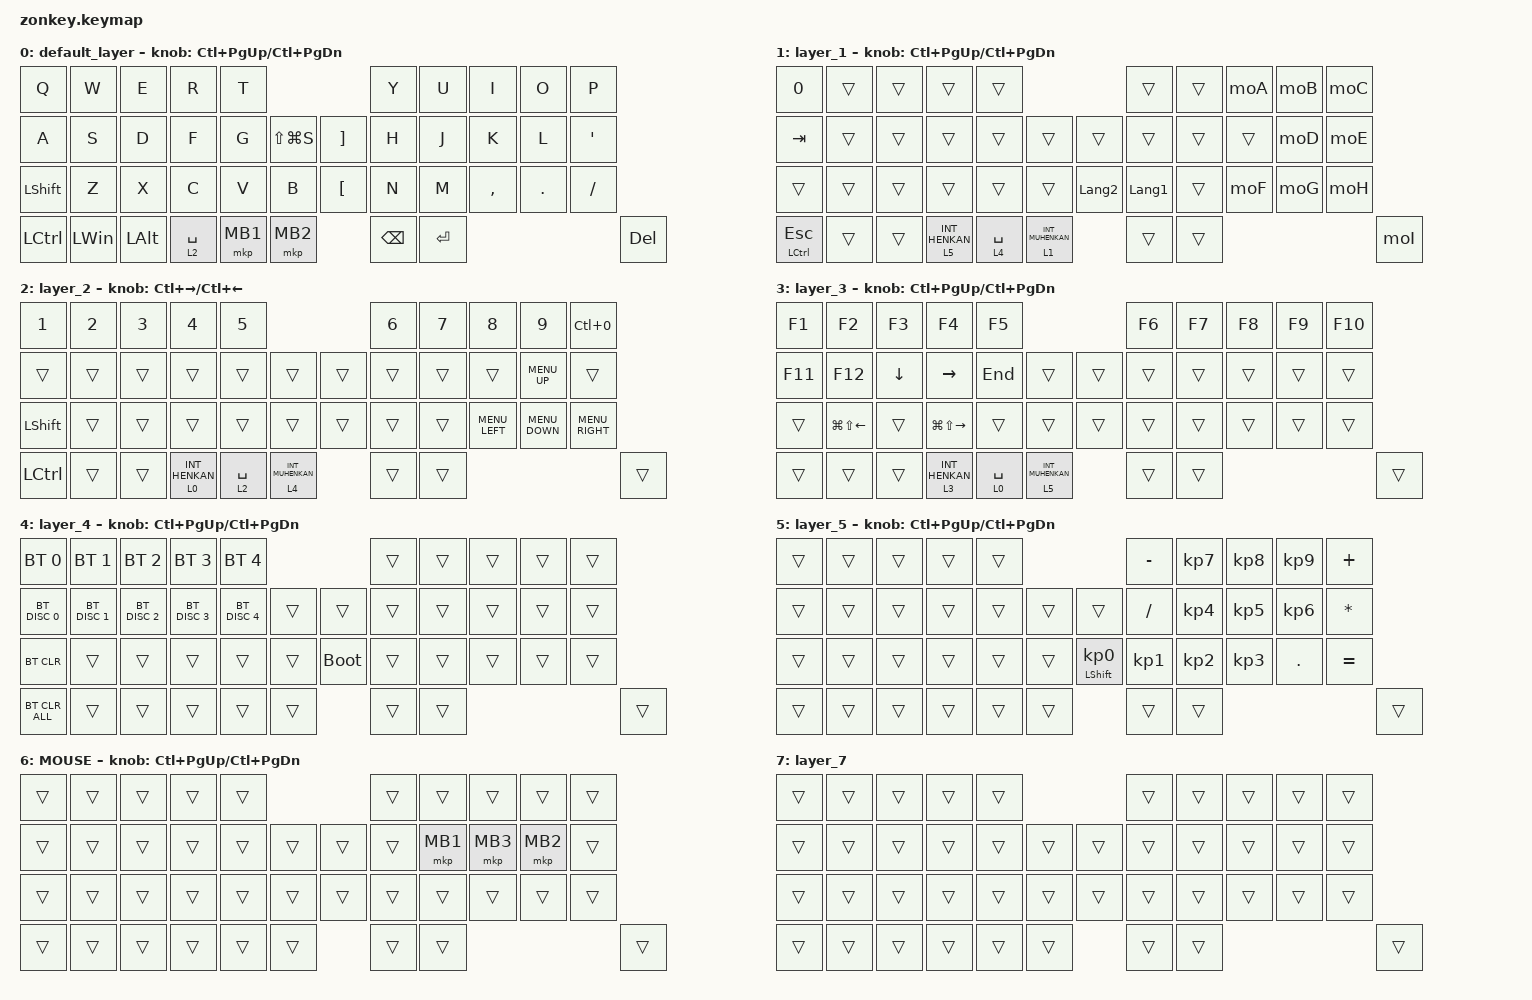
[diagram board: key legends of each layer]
#include <physical_layouts.dtsi>
#include <behaviors.dtsi>
#include <dt-bindings/zmk/bt.h>
#include <dt-bindings/zmk/keys.h>
#include <dt-bindings/zmk/pointing.h>

#define ZMK_POINTING_DEFAULT_SCRL_VAL 100
#define DFb 0
#define JIS 1
#define BT 4
#define MOUSE 6
#define JP_DQUOTE       AT                // "
#define JP_AMPERSAND    CARET             // &
#define JP_QUOTE        AMPERSAND         // '
#define JP_EQUAL        UNDER             // =
#define JP_CARET        EQUAL             // ^
#define JP_YEN          0x89              // ¥
#define JP_PLUS         COLON             // +
#define JP_TILDE        PLUS              // ~
#define JP_PIPE         LS(0x89)          // |
#define JP_AT           LEFT_BRACKET      // @
#define JP_COLON        SINGLE_QUOTE      // :
#define JP_ASTERISK     DOUBLE_QUOTES     // *
#define JP_BACKQUOTE    LEFT_BRACE        // `
#define JP_UNDERSCORE   LS(0x87)          // _
#define JP_LBRACKET     RIGHT_BRACKET     // [
#define JP_RBRACKET     BACKSLASH         // ]
#define JP_LPAREN       ASTERISK          // (
#define JP_RPAREN       LEFT_PARENTHESIS  // )
#define JP_LBRACE       RIGHT_BRACE       // {
#define JP_RBRACE       PIPE              // }
#define JP_KANA         LANGUAGE_1        // かな
#define JP_EISU         LANGUAGE_2        // 英数
#define JP_HANZEN       GRAVE             // 半角/全角
#define JP_BSLH  INT1         // (backslash)

&mt {
    flavor = "balanced";
    quick-tap-ms = <0>;
};

/ {
    combos { compatible = "zmk,combos"; };

    macros {
        to_layer_0: to_layer_0 {
            compatible = "zmk,behavior-macro-one-param";
            #binding-cells = <1>;
            bindings = <&to 0 &macro_param_1to1 &kp MACRO_PLACEHOLDER>;
            label = "TO_LAYER_0";
        };
    };

    behaviors {
        lt_to_layer_0: lt_to_layer_0 {
            compatible = "zmk,behavior-hold-tap";
            label = "LAYER_TAP_TO_0";
            bindings = <&mo>, <&to_layer_0>;

            #binding-cells = <2>;
            tapping-term-ms = <200>;
        };

        mo2: mo2 {
            compatible = "zmk,behavior-mod-morph";
            #binding-cells = <0>;
            bindings = <&kp N2>, <&kp AT>;

            mods = <(MOD_LSFT|MOD_RSFT)>;
        };

        mo6: mo6 {
            compatible = "zmk,behavior-mod-morph";
            #binding-cells = <0>;
            bindings = <&kp N6>, <&kp CARET>;

            mods = <(MOD_LSFT|MOD_RSFT)>;
        };

        mo7: mo7 {
            compatible = "zmk,behavior-mod-morph";
            #binding-cells = <0>;
            bindings = <&kp N7>, <&kp AMPS>;

            mods = <(MOD_LSFT|MOD_RSFT)>;
        };

        mo8: mo8 {
            compatible = "zmk,behavior-mod-morph";
            #binding-cells = <0>;
            bindings = <&kp N8>, <&kp ASTRK>;

            mods = <(MOD_LSFT|MOD_RSFT)>;
        };

        mo9: mo9 {
            compatible = "zmk,behavior-mod-morph";
            #binding-cells = <0>;
            bindings = <&kp N9>, <&kp LPAR>;

            mods = <(MOD_LSFT|MOD_RSFT)>;
        };

        mo0: mo0 {
            compatible = "zmk,behavior-mod-morph";
            #binding-cells = <0>;
            bindings = <&kp N0>, <&kp LS(N9)>;

            mods = <(MOD_LSFT|MOD_RSFT)>;
        };

        moA: moA {
            compatible = "zmk,behavior-mod-morph";
            #binding-cells = <0>;
            bindings = <&kp MINUS>, <&kp UNDERSCORE>;

            mods = <(MOD_LSFT|MOD_RSFT)>;
        };

        moB: moB {
            compatible = "zmk,behavior-mod-morph";
            #binding-cells = <0>;
            bindings = <&kp EQUAL>, <&kp PLUS>;

            mods = <(MOD_LSFT|MOD_RSFT)>;
        };

        moC: moC {
            compatible = "zmk,behavior-mod-morph";
            #binding-cells = <0>;
            bindings = <&kp INT3>, <&kp JP_PIPE>;

            mods = <(MOD_LSFT|MOD_RSFT)>;
        };

        moD: moD {
            compatible = "zmk,behavior-mod-morph";
            #binding-cells = <0>;
            bindings = <&kp LBKT>, <&kp LBRC>;

            mods = <(MOD_LSFT|MOD_RSFT)>;
        };

        moE: moE {
            compatible = "zmk,behavior-mod-morph";
            #binding-cells = <0>;
            bindings = <&kp RBKT>, <&kp RBRC>;

            mods = <(MOD_LSFT|MOD_RSFT)>;
        };

        moF: moF {
            compatible = "zmk,behavior-mod-morph";
            #binding-cells = <0>;
            bindings = <&kp SEMI>, <&kp KP_PLUS>;

            mods = <(MOD_LSFT|MOD_RSFT)>;
        };

        moG: moG {
            compatible = "zmk,behavior-mod-morph";
            #binding-cells = <0>;
            bindings = <&kp APOSTROPHE>, <&kp DQT>;

            mods = <(MOD_LSFT|MOD_RSFT)>;
        };

        moH: moH {
            compatible = "zmk,behavior-mod-morph";
            #binding-cells = <0>;
            bindings = <&kp BACKSLASH>, <&kp TILDE2>;

            mods = <(MOD_LSFT|MOD_RSFT)>;
        };

        moI: moI {
            compatible = "zmk,behavior-mod-morph";
            #binding-cells = <0>;
            bindings = <&kp JP_BSLH>, <&kp JP_UNDERSCORE>;

            mods = <(MOD_LSFT|MOD_RSFT)>;
        };

        scroll_up_down: behavior_sensor_rotate_mouse_wheel_up_down {
            compatible = "zmk,behavior-sensor-rotate";
            #sensor-binding-cells = <0>;
            bindings = <&msc SCRL_UP>, <&msc SCRL_DOWN>;

            tap-ms = <20>;
        };
    };

    keymap {
        compatible = "zmk,keymap";

        default_layer {
            bindings = <
&kp Q           &kp W         &kp E         &kp R        &kp T                                         &kp Y          &kp U      &kp I      &kp O    &kp P
&kp A           &kp S         &kp D         &kp F        &kp G     &kp LS(LG(S))    &kp RIGHT_BRACKET  &kp H          &kp J      &kp K      &kp L    &kp SQT
&kp LEFT_SHIFT  &kp Z         &kp X         &kp C        &kp V     &kp B            &kp LEFT_BRACKET   &kp N          &kp M      &kp COMMA  &kp DOT  &kp SLASH
&kp LCTRL       &kp LEFT_WIN  &kp LEFT_ALT  &lt 2 SPACE  &mkp MB1  &mkp MB2                            &kp BACKSPACE  &kp ENTER                                 &kp DEL
            >;

            sensor-bindings = <&inc_dec_kp LC(PAGE_UP) LC(PAGE_DOWN)>;
        };

        layer_1 {
            bindings = <
&kp NUMBER_0  &trans  &trans  &trans            &trans                                          &trans       &trans  &moA    &moB  &moC
&kp TAB       &trans  &trans  &trans            &trans       &trans                &trans       &trans       &trans  &trans  &moD  &moE
&trans        &trans  &trans  &trans            &trans       &trans                &kp JP_EISU  &kp JP_KANA  &trans  &moF    &moG  &moH
&mt LCTL ESC  &trans  &trans  &lt 5 INT_HENKAN  &lt 4 SPACE  &lt 1 INT_MUHENKAN                 &trans       &trans                      &moI
            >;

            sensor-bindings = <&inc_dec_kp LC(PAGE_UP) LC(PAGE_DOWN)>;
        };

        layer_2 {
            bindings = <
&kp N1            &kp NUMBER_2  &kp N3  &kp N4            &kp N5                                     &kp N6  &kp N7  &kp N8           &kp N9           &kp LC(N0)
&trans            &trans        &trans  &trans            &trans       &trans                &trans  &trans  &trans  &trans           &kp C_MENU_UP    &trans
&kp LEFT_SHIFT    &trans        &trans  &trans            &trans       &trans                &trans  &trans  &trans  &kp C_MENU_LEFT  &kp C_MENU_DOWN  &kp C_MENU_RIGHT
&kp LEFT_CONTROL  &trans        &trans  &lt 0 INT_HENKAN  &lt 2 SPACE  &lt 4 INT_MUHENKAN            &trans  &trans                                                      &trans
            >;

            sensor-bindings = <&inc_dec_kp LC(RIGHT_ARROW) LC(LEFT)>;
        };

        layer_3 {
            bindings = <
&kp F1   &kp F2                  &kp F3          &kp F4                   &kp F5                                     &kp F6  &kp F7  &kp F8  &kp F9  &kp F10
&kp F11  &kp F12                 &kp DOWN_ARROW  &kp RIGHT_ARROW          &kp END      &trans                &trans  &trans  &trans  &trans  &trans  &trans
&trans   &kp LG(LS(LEFT_ARROW))  &trans          &kp LG(LS(RIGHT_ARROW))  &trans       &trans                &trans  &trans  &trans  &trans  &trans  &trans
&trans   &trans                  &trans          &lt 3 INT_HENKAN         &lt 0 SPACE  &lt 5 INT_MUHENKAN            &trans  &trans                           &trans
            >;

            sensor-bindings = <&inc_dec_kp LC(PAGE_UP) LC(PAGE_DOWN)>;
        };

        layer_4 {
            bindings = <
&bt BT_SEL 0    &bt BT_SEL 1   &bt BT_SEL 2   &bt BT_SEL 3   &bt BT_SEL 4                          &trans  &trans  &trans  &trans  &trans
&bt BT_DISC 0   &bt BT_DISC 1  &bt BT_DISC 2  &bt BT_DISC 3  &bt BT_DISC 4  &trans    &trans       &trans  &trans  &trans  &trans  &trans
&bt BT_CLR      &trans         &trans         &trans         &trans         &trans    &bootloader  &trans  &trans  &trans  &trans  &trans
&bt BT_CLR_ALL  &trans         &trans         &trans         &trans         &trans                 &trans  &trans                          &trans
            >;

            sensor-bindings = <&inc_dec_kp LC(PAGE_UP) LC(PAGE_DOWN)>;
        };

        layer_5 {
            bindings = <
&trans  &trans  &trans  &trans  &trans                                        &kp MINUS        &kp KP_NUMBER_7  &kp KP_NUMBER_8  &kp KP_NUMBER_9  &kp PLUS
&trans  &trans  &trans  &trans  &trans  &trans    &trans                      &kp SLASH        &kp KP_NUMBER_4  &kp KP_NUMBER_5  &kp KP_NUMBER_6  &kp ASTERISK
&trans  &trans  &trans  &trans  &trans  &trans    &mt LEFT_SHIFT KP_NUMBER_0  &kp KP_NUMBER_1  &kp KP_NUMBER_2  &kp KP_NUMBER_3  &kp PERIOD       &kp EQUAL
&trans  &trans  &trans  &trans  &trans  &trans                                &trans           &trans                                                           &trans
            >;

            sensor-bindings = <&inc_dec_kp LC(PAGE_UP) LC(PAGE_DOWN)>;
        };

        MOUSE {
            bindings = <
&trans  &trans  &trans  &trans  &trans                    &trans  &trans    &trans    &trans    &trans
&trans  &trans  &trans  &trans  &trans  &trans    &trans  &trans  &mkp MB1  &mkp MB3  &mkp MB2  &trans
&trans  &trans  &trans  &trans  &trans  &trans    &trans  &trans  &trans    &trans    &trans    &trans
&trans  &trans  &trans  &trans  &trans  &trans            &trans  &trans                                &trans
            >;

            sensor-bindings = <&inc_dec_kp LC(PAGE_UP) LC(PAGE_DOWN)>;
        };

        layer_7 {
            bindings = <
&trans  &trans  &trans  &trans  &trans                    &trans  &trans  &trans  &trans  &trans
&trans  &trans  &trans  &trans  &trans  &trans    &trans  &trans  &trans  &trans  &trans  &trans
&trans  &trans  &trans  &trans  &trans  &trans    &trans  &trans  &trans  &trans  &trans  &trans
&trans  &trans  &trans  &trans  &trans  &trans            &trans  &trans                          &trans
            >;
        };
    };
};
